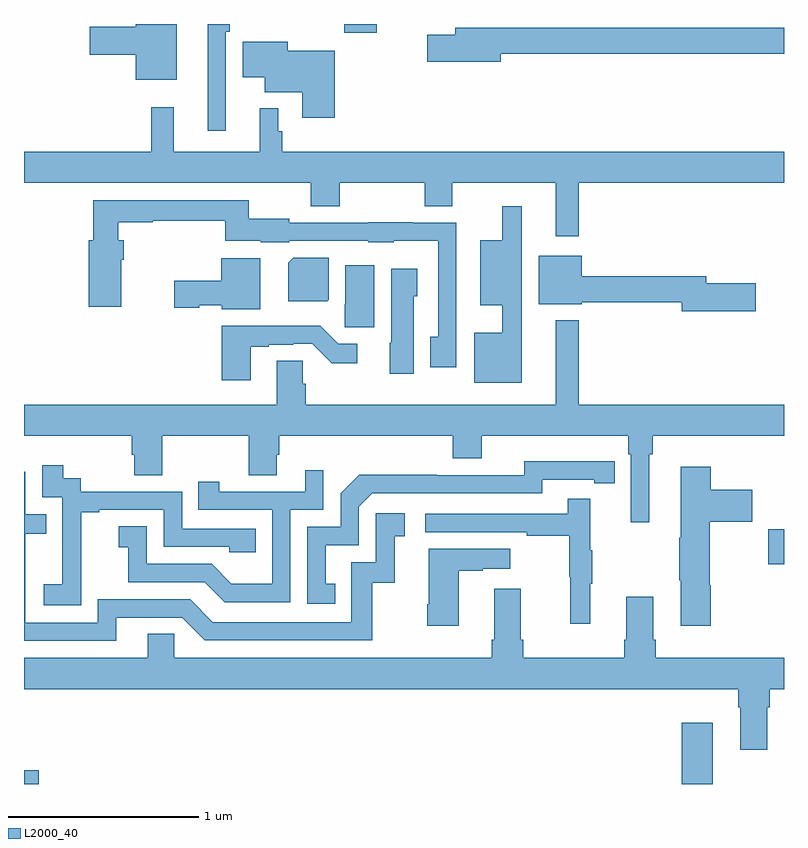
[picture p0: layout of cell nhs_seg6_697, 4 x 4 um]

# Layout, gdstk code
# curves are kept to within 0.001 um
import gdstk
lib = gdstk.Library(unit=1e-6, precision=1e-09)
def R(c, l, rs):  # rectangles x0, y0, x1, y1
    for r in rs: c.add(gdstk.rectangle(r[:2], r[2:], *l))
def P(c, l, *ps):  # polygons
    for p in ps: c.add(gdstk.Polygon(p, *l))
L2000_40 = (2000, 40)

nhs_seg6_697 = lib.new_cell('nhs_seg6_697')
R(nhs_seg6_697, L2000_40, [(155,949.5,155.077,949.572), (158.462,949.5,158.626,949.822), (158.916,950.657,159,950.84), (156.686,953.454,156.857,953.5)])
P(nhs_seg6_697, L2000_40, [(156.063,953.459),(156.083,953.459),(156.083,953.5),(155.966,953.5),(155.966,952.938),(156.063,952.938)],
  [(155.803,953.5),(155.588,953.5),(155.588,953.486),(155.346,953.486),(155.346,953.339),(155.588,953.339),(155.588,953.207),(155.803,953.207)],
  [(157.51,953.344),(159,953.344),(159,953.48),(157.271,953.48),(157.271,953.444),(157.122,953.444),(157.122,953.302),(157.51,953.302)],
  [(156.635,953.359),(156.388,953.359),(156.388,953.407),(156.152,953.407),(156.152,953.219),(156.266,953.219),(156.266,953.141),(156.464,953.141),(156.464,953.007),(156.635,953.007)],
  [(157.921,952.664),(159,952.664),(159,952.828),(156.359,952.828),(156.359,952.935),(156.339,952.935),(156.339,953.056),(156.242,953.056),(156.242,952.828),(155.789,952.828),(155.789,953.062),(155.671,953.062),(155.671,952.828),(155,952.828),(155,952.664),(156.508,952.664),(156.508,952.54),(156.663,952.54),(156.663,952.664),(157.108,952.664),(157.108,952.54),(157.255,952.54),(157.255,952.664),(157.799,952.664),(157.799,952.383),(157.921,952.383)],
  [(157.275,952.455),(157.045,952.455),(157.045,952.457),(156.813,952.457),(156.813,952.455),(156.396,952.455),(156.396,952.474),(156.184,952.474),(156.184,952.572),(155.365,952.572),(155.365,952.363),(155.342,952.363),(155.342,952.011),(155.512,952.011),(155.512,952.259),(155.525,952.259),(155.525,952.363),(155.497,952.363),(155.497,952.456),(155.678,952.456),(155.678,952.464),(156.059,952.464),(156.059,952.358),(156.246,952.358),(156.246,952.352),(156.396,952.352),(156.396,952.359),(156.813,952.359),(156.813,952.352),(156.945,952.352),(156.945,952.358),(157.179,952.358),(157.179,951.854),(157.139,951.854),(157.139,951.693),(157.275,951.693)],
  [(157.621,952.54),(157.517,952.54),(157.517,952.363),(157.4,952.363),(157.4,952.019),(157.517,952.019),(157.517,951.874),(157.37,951.874),(157.37,951.611),(157.621,951.611)],
  [(158.851,952.136),(158.59,952.136),(158.59,952.172),(157.936,952.172),(157.936,952.279),(157.709,952.279),(157.709,952.025),(157.936,952.025),(157.936,952.036),(158.462,952.036),(158.462,951.989),(158.851,951.989)],
  [(156.604,952.048),(156.604,952.27),(156.418,952.27),(156.392,952.244),(156.392,952.04),(156.596,952.04)],
  [(156.244,952.268),(156.038,952.268),(156.038,952.149),(155.79,952.149),(155.79,952.007),(155.922,952.007),(155.922,952.019),(156.042,952.019),(156.042,951.998),(156.244,951.998)],
  [(156.844,952.231),(156.692,952.231),(156.692,952.026),(156.688,952.026),(156.688,951.903),(156.844,951.903)],
  [(157.051,952.068),(157.069,952.068),(157.069,952.213),(156.932,952.213),(156.932,951.822),(156.926,951.822),(156.926,951.66),(157.051,951.66)],
  [(158.29,951.236),(158.309,951.236),(158.309,951.332),(159,951.332),(159,951.496),(157.921,951.496),(157.921,951.94),(157.799,951.94),(157.799,951.496),(156.482,951.496),(156.482,951.606),(156.468,951.606),(156.468,951.728),(156.329,951.728),(156.329,951.496),(155,951.496),(155,951.332),(155.567,951.332),(155.567,951.234),(155.579,951.234),(155.579,951.124),(155.727,951.124),(155.727,951.332),(156.184,951.332),(156.184,951.124),(156.331,951.124),(156.331,951.234),(156.344,951.234),(156.344,951.332),(157.256,951.332),(157.256,951.215),(157.408,951.215),(157.408,951.332),(158.18,951.332),(158.18,951.236),(158.193,951.236),(158.193,950.877),(158.29,950.877)],
  [(156.193,951.801),(156.289,951.801),(156.289,951.813),(156.416,951.813),(156.416,951.816),(156.516,951.816),(156.619,951.714),(156.754,951.714),(156.754,951.816),(156.654,951.816),(156.559,951.911),(156.041,951.911),(156.041,951.624),(156.193,951.624)],
  [(156.638,950.553),(156.589,950.553),(156.589,950.757),(156.762,950.757),(156.762,950.958),(156.834,951.03),(157.728,951.03),(157.728,951.102),(158,951.102),(158,951.082),(158.108,951.082),(158.108,951.198),(157.632,951.199),(157.632,951.126),(157.172,951.126),(157.172,951.128),(156.764,951.128),(156.666,951.03),(156.666,950.853),(156.492,950.853),(156.492,950.448),(156.638,950.448)],
  [(155.301,950.647),(155.3,950.647),(155.3,950.931),(155.395,950.931),(155.395,950.943),(155.736,950.943),(155.736,950.748),(156.081,950.748),(156.081,950.721),(156.221,950.721),(156.221,950.844),(155.832,950.844),(155.832,951.039),(155.298,951.039),(155.298,951.108),(155.206,951.108),(155.206,951.178),(155.097,951.178),(155.097,951.009),(155.202,951.009),(155.202,950.78),(155.201,950.78),(155.201,950.551),(155.103,950.551),(155.103,950.441),(155.301,950.441)],
  [(158.615,950.546),(158.61,950.546),(158.61,950.879),(158.833,950.879),(158.833,951.049),(158.615,951.049),(158.615,951.169),(158.456,951.169),(158.456,950.795),(158.449,950.795),(158.449,950.572),(158.456,950.572),(158.456,950.334),(158.615,950.334)],
  [(156.402,950.943),(156.576,950.943),(156.576,951.151),(156.479,951.151),(156.479,951.039),(156.028,951.039),(156.028,951.091),(155.917,951.091),(155.917,950.943),(156.306,950.943),(156.306,950.554),(156.092,950.554),(155.988,950.658),(155.646,950.658),(155.646,950.857),(155.499,950.857),(155.499,950.747),(155.548,950.747),(155.548,950.562),(155.951,950.562),(156.056,950.457),(156.402,950.457)],
  [(155.485,950.376),(155.832,950.376),(155.952,950.256),(156.832,950.256),(156.832,950.559),(156.95,950.559),(156.95,950.805),(157.003,950.805),(157.003,950.926),(156.852,950.926),(156.852,950.667),(156.723,950.667),(156.723,950.352),(155.994,950.352),(155.874,950.472),(155.388,950.472),(155.388,950.349),(155.007,950.349),(155.007,950.818),(155.117,950.818),(155.117,950.919),(155.007,950.919),(155.007,951.144),(155,951.144),(155,950.253),(155.485,950.253)],
  [(157.979,950.555),(157.99,950.555),(157.99,950.729),(157.979,950.729),(157.979,951.001),(157.861,951.001),(157.861,950.922),(157.113,950.922),(157.113,950.826),(157.645,950.826),(157.645,950.806),(157.869,950.806),(157.869,950.592),(157.876,950.592),(157.876,950.343),(157.979,950.343)],
  [(157.288,950.623),(157.415,950.623),(157.415,950.633),(157.558,950.633),(157.558,950.737),(157.13,950.737),(157.13,950.446),(157.123,950.446),(157.123,950.334),(157.288,950.334)],
  [(158.911,949.904),(158.924,949.904),(158.924,950),(159,950),(159,950.164),(158.324,950.164),(158.324,950.26),(158.311,950.26),(158.311,950.485),(158.171,950.485),(158.171,950.26),(158.159,950.26),(158.159,950.164),(157.628,950.164),(157.628,950.26),(157.615,950.26),(157.615,950.527),(157.475,950.527),(157.475,950.26),(157.463,950.26),(157.463,950.164),(155.79,950.164),(155.79,950.291),(155.651,950.291),(155.651,950.164),(155,950.164),(155,950),(158.759,950),(158.759,949.904),(158.771,949.904),(158.771,949.68),(158.911,949.68)])

lib.write_gds('nhs_seg6_697.gds')
